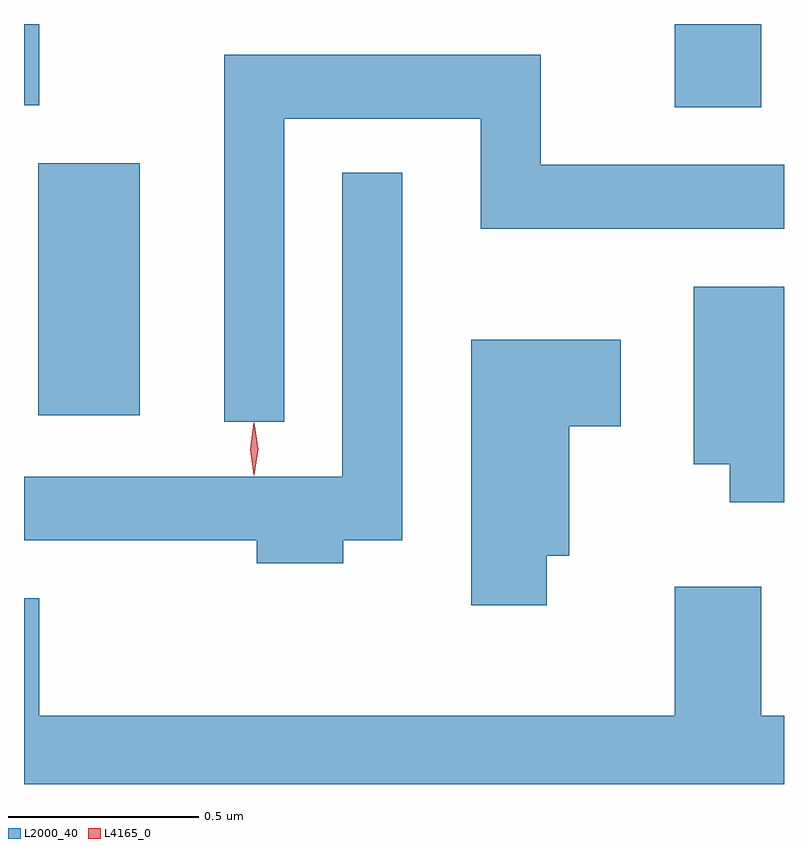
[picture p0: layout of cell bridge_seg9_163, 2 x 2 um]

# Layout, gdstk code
import gdstk
lib = gdstk.Library(unit=1e-6, precision=1e-09)
def R(c, l, rs):  # rectangles x0, y0, x1, y1
    for r in rs: c.add(gdstk.rectangle(r[:2], r[2:], *l))
def P(c, l, *ps):  # polygons
    for p in ps: c.add(gdstk.Polygon(p, *l))
L2000_40 = (2000, 40)
L4165_0 = (4165, 0)

bridge_seg9_163 = lib.new_cell('bridge_seg9_163')
R(bridge_seg9_163, L2000_40, [(1394.456,2072.796,1394.724,2073.459), (1396.131,2073.606,1396.359,2073.825), (1394.419,2073.611,1394.459,2073.825)])
P(bridge_seg9_163, L2000_40, [(1395.104,2073.576),(1395.621,2073.576),(1395.621,2073.286),(1396.419,2073.286),(1396.419,2073.454),(1395.779,2073.454),(1395.779,2073.744),(1394.946,2073.744),(1394.946,2072.778),(1395.104,2072.778)],
  [(1395.259,2072.466),(1395.414,2072.466),(1395.414,2073.433),(1395.256,2073.433),(1395.256,2072.634),(1394.419,2072.634),(1394.419,2072.466),(1395.031,2072.466),(1395.031,2072.406),(1395.259,2072.406)],
  [(1396.419,2073.134),(1396.181,2073.134),(1396.181,2072.666),(1396.276,2072.666),(1396.276,2072.566),(1396.419,2072.566)],
  [(1395.794,2072.426),(1395.854,2072.426),(1395.854,2072.766),(1395.989,2072.766),(1395.989,2072.994),(1395.596,2072.994),(1395.596,2072.296),(1395.794,2072.296)],
  [(1396.419,2072.004),(1396.359,2072.004),(1396.359,2072.344),(1396.131,2072.344),(1396.131,2072.004),(1394.459,2072.004),(1394.459,2072.314),(1394.419,2072.314),(1394.419,2071.825),(1396.419,2071.825)])
P(bridge_seg9_163, L4165_0, [(1395.024,2072.637),(1395.015,2072.706),(1395.024,2072.776),(1395.025,2072.776),(1395.025,2072.776),(1395.035,2072.706),(1395.025,2072.637),(1395.025,2072.637)],
  [(1395.024,2072.639),(1395.024,2072.64),(1395.014,2072.706),(1395.024,2072.772),(1395.024,2072.773),(1395.025,2072.772),(1395.034,2072.706),(1395.025,2072.64)])

lib.write_gds('bridge_seg9_163.gds')
